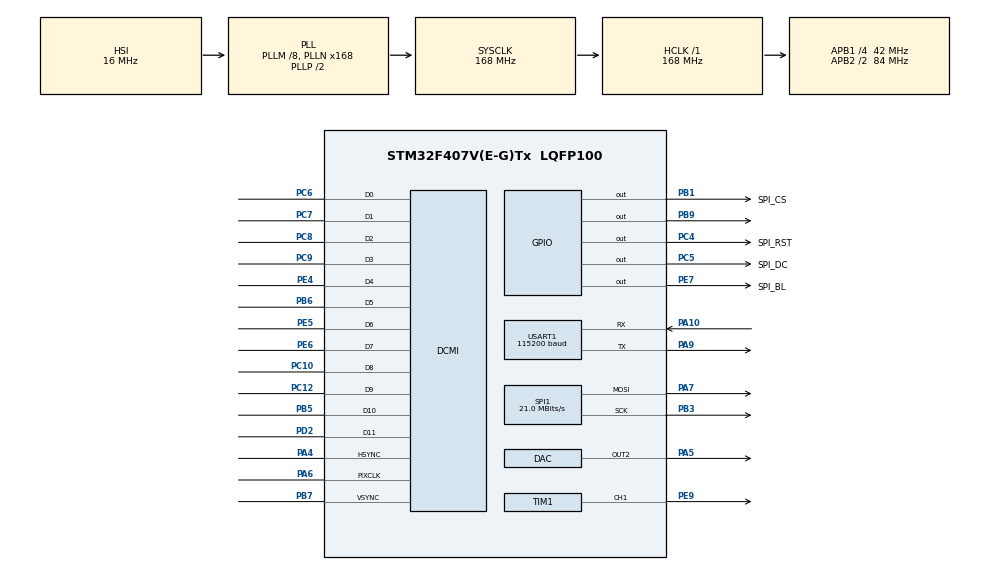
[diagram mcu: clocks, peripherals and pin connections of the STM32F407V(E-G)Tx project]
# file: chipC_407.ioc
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DCMI.HSPolarity=DCMI_HSPOLARITY_HIGH
Dma.DCMI.0.Direction=DMA_PERIPH_TO_MEMORY
Dma.DCMI.0.FIFOMode=DMA_FIFOMODE_ENABLE
Dma.DCMI.0.FIFOThreshold=DMA_FIFO_THRESHOLD_FULL
Dma.DCMI.0.Instance=DMA2_Stream1
Dma.DCMI.0.MemBurst=DMA_MBURST_SINGLE
Dma.DCMI.0.MemDataAlignment=DMA_MDATAALIGN_WORD
Dma.DCMI.0.MemInc=DMA_MINC_ENABLE
Dma.DCMI.0.Mode=DMA_NORMAL
Dma.DCMI.0.PeriphBurst=DMA_PBURST_SINGLE
Dma.DCMI.0.PeriphDataAlignment=DMA_PDATAALIGN_WORD
Dma.DCMI.0.PeriphInc=DMA_PINC_DISABLE
Dma.DCMI.0.Priority=DMA_PRIORITY_VERY_HIGH
Dma.Request0=DCMI
Mcu.Family=STM32F4
Mcu.Name=STM32F407V(E-G)Tx
Mcu.Package=LQFP100
NVIC.DCMI_IRQn=true\:0\:0\:false\:false\:true\:true\:true\:true
NVIC.DMA2_Stream1_IRQn=true\:0\:0\:false\:false\:true\:false\:true\:true
NVIC.PriorityGroup=NVIC_PRIORITYGROUP_4
NVIC.SPI1_IRQn=true\:0\:0\:false\:false\:true\:true\:true\:true
NVIC.USART1_IRQn=true\:0\:0\:false\:false\:true\:true\:true\:true
PA10.Mode=Asynchronous
PA10.Signal=USART1_RX
PA4.Mode=Slave_12_bits_External_Synchro
PA4.Signal=DCMI_HSYNC
PA5.Signal=COMP_DAC2_group
PA6.GPIO_Speed=GPIO_SPEED_FREQ_VERY_HIGH
PA6.Mode=Slave_12_bits_External_Synchro
PA6.Signal=DCMI_PIXCLK
PA7.Mode=TX_Only_Simplex_Unidirect_Master
PA7.Signal=SPI1_MOSI
PA9.Mode=Asynchronous
PA9.Signal=USART1_TX
PB1.GPIO_Label=SPI_CS
PB1.GPIO_PuPd=GPIO_PULLUP
PB1.GPIO_Speed=GPIO_SPEED_FREQ_VERY_HIGH
PB1.PinState=GPIO_PIN_SET
PB1.Signal=GPIO_Output
PB3.Mode=TX_Only_Simplex_Unidirect_Master
PB3.Signal=SPI1_SCK
PB5.GPIO_Speed=GPIO_SPEED_FREQ_VERY_HIGH
PB5.Mode=Slave_12_bits_External_Synchro
PB5.Signal=DCMI_D10
PB6.GPIO_Speed=GPIO_SPEED_FREQ_VERY_HIGH
PB6.Mode=Slave_12_bits_External_Synchro
PB6.Signal=DCMI_D5
PB7.GPIO_Speed=GPIO_SPEED_FREQ_LOW
PB7.Mode=Slave_12_bits_External_Synchro
PB7.Signal=DCMI_VSYNC
PB9.Signal=GPIO_Output
PC10.GPIO_Speed=GPIO_SPEED_FREQ_VERY_HIGH
PC10.Mode=Slave_12_bits_External_Synchro
PC10.Signal=DCMI_D8
PC12.GPIO_Speed=GPIO_SPEED_FREQ_VERY_HIGH
PC12.Mode=Slave_12_bits_External_Synchro
PC12.Signal=DCMI_D9
PC4.GPIO_Label=SPI_RST
PC4.GPIO_Speed=GPIO_SPEED_FREQ_VERY_HIGH
PC4.Signal=GPIO_Output
PC5.GPIO_Label=SPI_DC
PC5.GPIO_Speed=GPIO_SPEED_FREQ_VERY_HIGH
PC5.PinState=GPIO_PIN_SET
PC5.Signal=GPIO_Output
PC6.GPIO_Speed=GPIO_SPEED_FREQ_VERY_HIGH
PC6.Mode=Slave_12_bits_External_Synchro
PC6.Signal=DCMI_D0
PC7.GPIO_Speed=GPIO_SPEED_FREQ_VERY_HIGH
PC7.Mode=Slave_12_bits_External_Synchro
PC7.Signal=DCMI_D1
PC8.GPIO_Speed=GPIO_SPEED_FREQ_VERY_HIGH
PC8.Mode=Slave_12_bits_External_Synchro
PC8.Signal=DCMI_D2
PC9.GPIO_Speed=GPIO_SPEED_FREQ_VERY_HIGH
PC9.Mode=Slave_12_bits_External_Synchro
PC9.Signal=DCMI_D3
PD2.GPIO_Speed=GPIO_SPEED_FREQ_VERY_HIGH
PD2.Mode=Slave_12_bits_External_Synchro
PD2.Signal=DCMI_D11
PE4.GPIO_Speed=GPIO_SPEED_FREQ_VERY_HIGH
PE4.Mode=Slave_12_bits_External_Synchro
PE4.Signal=DCMI_D4
PE5.GPIO_Speed=GPIO_SPEED_FREQ_VERY_HIGH
PE5.Mode=Slave_12_bits_External_Synchro
PE5.Signal=DCMI_D6
PE6.GPIO_Speed=GPIO_SPEED_FREQ_VERY_HIGH
PE6.Mode=Slave_12_bits_External_Synchro
PE6.Signal=DCMI_D7
PE7.GPIO_Label=SPI_BL
PE7.PinState=GPIO_PIN_SET
PE7.Signal=GPIO_Output
PE9.GPIO_Speed=GPIO_SPEED_FREQ_VERY_HIGH
PE9.Signal=S_TIM1_CH1
PH0-OSC_IN.Mode=HSE-External-Oscillator
PH0-OSC_IN.Signal=RCC_OSC_IN
PH1-OSC_OUT.Mode=HSE-External-Oscillator
PH1-OSC_OUT.Signal=RCC_OSC_OUT
ProjectManager.HeapSize=0x200
ProjectManager.StackSize=0x400
ProjectManager.TargetToolchain=CMake
RCC.48MHZClocksFreq_Value=84000000
RCC.AHBFreq_Value=168000000
RCC.APB1CLKDivider=RCC_HCLK_DIV4
RCC.APB1Freq_Value=42000000
RCC.APB1TimFreq_Value=84000000
RCC.APB2CLKDivider=RCC_HCLK_DIV2
RCC.APB2Freq_Value=84000000
RCC.APB2TimFreq_Value=168000000
RCC.CortexFreq_Value=168000000
RCC.HCLKFreq_Value=168000000
RCC.HSE_VALUE=25000000
RCC.HSI_VALUE=16000000
RCC.LSE_VALUE=32768
RCC.PLLM=8
RCC.PLLN=168
RCC.SYSCLKFreq_VALUE=168000000
RCC.SYSCLKSource=RCC_SYSCLKSOURCE_PLLCLK
RCC.VCOOutputFreq_Value=336000000
SH.COMP_DAC2_group.0=DAC_OUT2,DAC_OUT2
SH.S_TIM1_CH1.0=TIM1_CH1,PWM Generation1 CH1
SPI1.BaudRatePrescaler=SPI_BAUDRATEPRESCALER_4
SPI1.CalculateBaudRate=21.0 MBits/s
SPI1.Direction=SPI_DIRECTION_2LINES
SPI1.Mode=SPI_MODE_MASTER
SPI1.VirtualType=VM_MASTER
TIM1.Channel-PWM\ Generation1\ CH1=TIM_CHANNEL_1
TIM1.Period=79
TIM1.Pulse-PWM\ Generation1\ CH1=4
TIM1.TIM_MasterOutputTrigger=TIM_TRGO_UPDATE
USART1.BaudRate=115200
USART1.VirtualMode=VM_ASYNC
VP_TIM1_VS_ClockSourceINT.Mode=Internal
board=custom

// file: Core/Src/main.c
/* USER CODE BEGIN Header */
/**
  ******************************************************************************
  * @file           : main.c
  * @brief          : Main program body
  ******************************************************************************
  */
/* USER CODE END Header */
#include "main.h"

/* USER CODE BEGIN Includes */
#include "driver_st7789.h"
#include <stdint.h>
#include <stdio.h>
#include "UI.h"
#include "ble_ssp.h"
#include "fft_math.h"
/* USER CODE END Includes */

/* USER CODE BEGIN PTD */
typedef enum {
  Coarse_Init = 0,
  Coarse_Wait,
  Fine_Init,
  Fine_Wait,
  Process
} State;
/* USER CODE END PTD */

DAC_HandleTypeDef hdac;

DCMI_HandleTypeDef hdcmi;
DMA_HandleTypeDef hdma_dcmi;

SPI_HandleTypeDef hspi1;

TIM_HandleTypeDef htim1;

UART_HandleTypeDef huart1;

/* USER CODE BEGIN PV */
static uint8_t g_last_wave[320] = {0};
static uint8_t g_curr_wave[320] = {0};
__attribute__((aligned(4))) uint16_t adc_buf[1024];
uint8_t dma_full_flag = 0;
__attribute__((aligned(4))) uint16_t raw_adc_buf[8192];
static uint8_t g_decim_factor = 1;
volatile uint8_t rx_data = '0';
State current_state = Coarse_Init;
static float g_active_fs = FS_COARSE;

extern volatile PAGE current_page;
extern volatile PAGE next_page_req;
extern volatile uint8_t page_change_flag;
extern volatile uint8_t wave_div_change_flag;
extern volatile uint16_t g_v_scale;
extern volatile MeasureParams_t current_params;
extern volatile uint8_t s_current_tb_idx;
/* USER CODE END PV */

void SystemClock_Config(void);
static void MX_GPIO_Init(void);
static void MX_DMA_Init(void);
static void MX_SPI1_Init(void);
static void MX_TIM1_Init(void);
static void MX_USART1_UART_Init(void);
static void MX_DCMI_Init(void);
static void MX_DAC_Init(void);

/* USER CODE BEGIN 0 */

static void DCMI_ForceReset(void)
{
    __HAL_DCMI_DISABLE(&hdcmi);
    hdcmi.Instance->CR &= ~DCMI_CR_CAPTURE;
    HAL_DMA_Abort(&hdma_dcmi);
    hdcmi.State = HAL_DCMI_STATE_READY;
    hdcmi.ErrorCode = HAL_DCMI_ERROR_NONE;
    __HAL_DCMI_CLEAR_FLAG(&hdcmi, DCMI_FLAG_OVFRI | DCMI_FLAG_ERRRI | DCMI_FLAG_FRAMERI);
    HAL_GPIO_WritePin(GPIOB, GPIO_PIN_9, GPIO_PIN_SET);
}

/**
 * @brief 动态修改 TIM1 输出采样率 (TIM1 时钟为 168MHz)，返回实际采样率
 */
static float TIM1_SetSampleRate(float target_fs)
{
    if (target_fs > 21000000.0f) target_fs = 21000000.0f; // 上限 21MHz (ARR=7)
    if (target_fs < 20000.0f)    target_fs = 20000.0f;    // 下限 20kHz

    uint32_t total_div = (uint32_t)(168000000.0f / target_fs + 0.5f);
    if (total_div < 8) total_div = 8;

    uint32_t psc = (total_div - 1) / 65536;
    uint32_t arr = (total_div / (psc + 1)) - 1;
    if (arr < 1) arr = 1;

    __HAL_TIM_SET_PRESCALER(&htim1, psc);
    __HAL_TIM_SET_AUTORELOAD(&htim1, arr);
    __HAL_TIM_SET_COMPARE(&htim1, TIM_CHANNEL_1, (arr + 1) >> 1);
    htim1.Instance->EGR = TIM_EGR_UG; // 立即更新分频与重装载寄存器

    return 168000000.0f / ((float)(psc + 1) * (float)(arr + 1));
}

static void delay_us_systick(uint32_t us)
{
    uint32_t ticks = us * (SystemCoreClock / 1000000U);
    uint32_t told = SysTick->VAL;
    uint32_t tnow, tcnt = 0;
    uint32_t reload = SysTick->LOAD + 1U;
    while (tcnt < ticks) {
        tnow = SysTick->VAL;
        if (tnow != told) {
            tcnt += (tnow < told) ? (told - tnow) : (reload - tnow + told);
            told = tnow;
        }
    }
}

static void DCMI_StartCapture(uint16_t word_len)
{
    HAL_GPIO_WritePin(GPIOB, GPIO_PIN_9, GPIO_PIN_SET);
    HAL_DCMI_Start_DMA(&hdcmi, DCMI_MODE_SNAPSHOT, (uint32_t)raw_adc_buf, word_len);

    HAL_GPIO_WritePin(GPIOB, GPIO_PIN_9, GPIO_PIN_RESET);
    delay_us_systick(15);
    HAL_GPIO_WritePin(GPIOB, GPIO_PIN_9, GPIO_PIN_SET);
}
/* USER CODE END 0 */

int main(void)
{

  /* MCU Configuration--------------------------------------------------------*/

  /* Reset of all peripherals, Initializes the Flash interface and the Systick. */
  HAL_Init();

  /* Configure the system clock */
  SystemClock_Config();

  /* Initialize all configured peripherals */
  MX_GPIO_Init();
  MX_DMA_Init();
  MX_SPI1_Init();
  MX_TIM1_Init();
  MX_USART1_UART_Init();
  MX_DCMI_Init();
  MX_DAC_Init();
  /* USER CODE BEGIN 2 */
  st7789_init();
  page_console();

  console_print("TEST#1");
  st7789_display_on();
  HAL_UART_Receive_IT(&huart1, (uint8_t *)&rx_data, 1);
  HAL_TIM_PWM_Start(&htim1, TIM_CHANNEL_1);
  /* USER CODE END 2 */

  /* Infinite loop */
  /* USER CODE BEGIN WHILE */
  static uint32_t last_frame_tick = 0;
  static uint32_t last_ble_tick = 0;
  static uint32_t wait_start_tick = 0;
  while (1) {
    /* 1. 页面切换处理 */
    if (page_change_flag) {
      page_change_flag = 0;

      // 直接关闭 DCMI 并强制中止 DMA，避免 HAL_DCMI_Stop 1000ms 超时锁死 DMA
      __HAL_DCMI_DISABLE(&hdcmi);
      hdcmi.Instance->CR &= ~DCMI_CR_CAPTURE;
      HAL_DMA_Abort(&hdma_dcmi);
      hdcmi.State = HAL_DCMI_STATE_READY;
      __HAL_DCMI_CLEAR_FLAG(&hdcmi, DCMI_FLAG_OVFRI | DCMI_FLAG_ERRRI | DCMI_FLAG_FRAMERI);

      current_state = Coarse_Init;
      memset(g_last_wave, 0, sizeof(g_last_wave));

      switch (next_page_req) {
        case PAGE_CONSOLE: page_console(); break;
        case PAGE_WAVE:    page_wave();    break;
        case PAGE_PARAM:   page_param();   break;
      }
  }

    if (wave_div_change_flag && current_page == PAGE_WAVE) {
      char strtemp[4] = {'\0'};
      snprintf(strtemp, sizeof(strtemp), "%dX", g_v_scale);
      st7789_fill_rect(280, 1, 319, 23, ST7789_COLOR_BLACK);
      st7789_write_string(280, 1, strtemp, ST7789_COLOR_RED, ST7789_FONT_24);
      ui_update_topbar_volt_div();
      wave_div_change_flag = 0;
    }

    /* 2. 粗测 -> 精测状态机调度 */
    switch (current_state) {
      case Coarse_Init:
      if (HAL_GetTick() - last_frame_tick >= 33) {
        last_frame_tick = HAL_GetTick();
        g_decim_factor = 1;
        g_active_fs = TIM1_SetSampleRate(1000000.0f);
        DCMI_StartCapture(512); // 1024 点
        wait_start_tick = HAL_GetTick();
        current_state = Coarse_Wait;
      }
      break;

      case Coarse_Wait:
        if (HAL_DCMI_GetState(&hdcmi) == HAL_DCMI_STATE_READY) {
          memcpy(adc_buf, raw_adc_buf, 1024 * sizeof(uint16_t));
          measure_signal(adc_buf, 1024, g_active_fs);
          current_state = Fine_Init;
        } else if (HAL_DCMI_GetState(&hdcmi) == HAL_DCMI_STATE_ERROR ||
                  (HAL_GetTick() - wait_start_tick > 100)) {
          DCMI_ForceReset();
          current_state = Coarse_Init;
        }
        break;

        case Fine_Init:
        {
          if (current_params.freq >= 5500.0f) {
            // 高频：1x 直采，硬件时钟 >= 1 MHz
            float target_fs = current_params.freq * 128.0f;
            if (target_fs < 1000000.0f) target_fs = 1000000.0f;
            g_decim_factor = 1;
            g_active_fs = TIM1_SetSampleRate(target_fs);
            DCMI_StartCapture(512);
          } else if (s_current_tb_idx >= 10) {
            // 2ms 大时基：硬件 1 MHz 采 8192 点，8x 抽取等效 125 kHz（窗口 8.19ms）
            float hw_fs = TIM1_SetSampleRate(1000000.0f);
            g_decim_factor = 8;
            g_active_fs = hw_fs / 8.0f;
            DCMI_StartCapture(4096);
          } else {
            // 常规低频：硬件 1 MHz 采 4096 点，4x 抽取等效 250 kHz（窗口 4.10ms）
            float hw_fs = TIM1_SetSampleRate(1000000.0f);
            g_decim_factor = 4;
            g_active_fs = hw_fs / 4.0f;
            DCMI_StartCapture(2048);
          }
          wait_start_tick = HAL_GetTick();
          current_state = Fine_Wait;
        }
        break;
      case Fine_Wait:
        if (HAL_DCMI_GetState(&hdcmi) == HAL_DCMI_STATE_READY) {
          if (g_decim_factor > 1) {
            uint8_t shift = (g_decim_factor == 8) ? 3 : 2;
            for (uint16_t i = 0; i < 1024; i++) {
              uint32_t sum = 0;
              uint32_t base = i * g_decim_factor;
              for (uint8_t k = 0; k < g_decim_factor; k++) {
                sum += raw_adc_buf[base + k];
              }
              adc_buf[i] = (uint16_t)(sum >> shift);
            }
          } else {
            memcpy(adc_buf, raw_adc_buf, 1024 * sizeof(uint16_t));
          }
          current_state = Process;
        } else if (HAL_DCMI_GetState(&hdcmi) == HAL_DCMI_STATE_ERROR ||
                  (HAL_GetTick() - wait_start_tick > 100)) {
          DCMI_ForceReset();
          current_state = Coarse_Init;
        }
        break;
        case Process:
        // 1. 精测信号参数计算
        measure_signal(adc_buf, 1024, g_active_fs);
        if (g_active_fs > FS_LOW_FINE && current_params.freq < 10.0f) {
          current_state = Coarse_Init;
          break;
        }

        // 2. 周期性向上位机回传数据 (每 200ms 发送一帧)
        if (HAL_GetTick() - last_ble_tick >= 200) {
          last_ble_tick = HAL_GetTick();
          BLE_SendParams(&huart1, &current_params);
        }

        // 3. 波形页与参数页动态渲染
        if ((current_page == PAGE_WAVE || current_page == PAGE_PARAM) && !page_change_flag) {
            float sample_step = 1.0f;
            uint8_t tb_idx = ui_calc_auto_timebase(current_params.freq, g_active_fs, &sample_step);

            // 统计极值并执行施密特触发同步
            uint16_t v_min = 4095, v_max = 0;
            for (uint16_t i = 0; i < 1024; i++) {
                if (adc_buf[i] < v_min) v_min = adc_buf[i];
                if (adc_buf[i] > v_max) v_max = adc_buf[i];
            }
            uint16_t v_pp = v_max - v_min;
            uint16_t trig_start = 260; // 预留 260 点预触发历史供右移查看
            uint16_t trig_idx = trig_start;

            uint16_t period_pts = (current_params.freq > 10.0f) ? (uint16_t)(g_active_fs / current_params.freq) : 125;
            uint16_t search_limit = (uint16_t)(period_pts * 1.3f) + 10;
            if (search_limit > 400) search_limit = 400;
            uint16_t search_end = trig_start + search_limit;
            if (search_end > 1024) search_end = 1024;

            #define NOISE_GATE 40
            if (v_pp > NOISE_GATE) {
                uint16_t v_mid  = (v_min + v_max) >> 1;
                uint16_t hys    = v_pp >> 4;
                uint16_t v_low  = v_mid - hys;
                uint16_t v_high = v_mid + hys;

                uint8_t armed = 0;
                for (uint16_t i = trig_start; i < search_end; i++) {
                    if (!armed) {
                        if (adc_buf[i] < v_low) armed = 1;
                    } else {
                        if (adc_buf[i] >= v_high) {
                            trig_idx = i;
                            break;
                        }
                    }
                }
            }

            if (current_page == PAGE_WAVE) {
                ui_update_topbar_timebase(tb_idx, 0);
                for (int i = 0; i < 320; i++) {
                    int32_t sample_pos = (int32_t)trig_idx + (int32_t)((i + g_x_offset) * sample_step);
                    if (sample_pos < 0 || sample_pos > 1023) {
                        g_curr_wave[i] = 0; // 超出采样存储区留空，避免重复画 adc_buf[0]
                    } else {
                        g_curr_wave[i] = wave_adc_to_screen_y(adc_buf[sample_pos]);
                    }
                }
                screen_draw_frame(g_last_wave, g_curr_wave, 320);
            }
        }

        current_state = Coarse_Init;
        break;
    }
  }
    /* USER CODE END WHILE */

}

void SystemClock_Config(void)
{
  RCC_OscInitTypeDef RCC_OscInitStruct = {0};
  RCC_ClkInitTypeDef RCC_ClkInitStruct = {0};

  /** Configure the main internal regulator output voltage
  */
  __HAL_RCC_PWR_CLK_ENABLE();
  __HAL_PWR_VOLTAGESCALING_CONFIG(PWR_REGULATOR_VOLTAGE_SCALE1);

  /** Initializes the RCC Oscillators according to the specified parameters
  * in the RCC_OscInitTypeDef structure.
  */
  RCC_OscInitStruct.OscillatorType = RCC_OSCILLATORTYPE_HSI;
  RCC_OscInitStruct.HSIState = RCC_HSI_ON;
  RCC_OscInitStruct.HSICalibrationValue = RCC_HSICALIBRATION_DEFAULT;
  RCC_OscInitStruct.PLL.PLLState = RCC_PLL_ON;
  RCC_OscInitStruct.PLL.PLLSource = RCC_PLLSOURCE_HSI;
  RCC_OscInitStruct.PLL.PLLM = 8;
  RCC_OscInitStruct.PLL.PLLN = 168;
  RCC_OscInitStruct.PLL.PLLP = RCC_PLLP_DIV2;
  RCC_OscInitStruct.PLL.PLLQ = 4;
  if (HAL_RCC_OscConfig(&RCC_OscInitStruct) != HAL_OK)
  {
    Error_Handler();
  }

  /** Initializes the CPU, AHB and APB buses clocks
  */
  RCC_ClkInitStruct.ClockType = RCC_CLOCKTYPE_HCLK|RCC_CLOCKTYPE_SYSCLK
                              |RCC_CLOCKTYPE_PCLK1|RCC_CLOCKTYPE_PCLK2;
  RCC_ClkInitStruct.SYSCLKSource = RCC_SYSCLKSOURCE_PLLCLK;
  RCC_ClkInitStruct.AHBCLKDivider = RCC_SYSCLK_DIV1;
  RCC_ClkInitStruct.APB1CLKDivider = RCC_HCLK_DIV4;
  RCC_ClkInitStruct.APB2CLKDivider = RCC_HCLK_DIV2;

  if (HAL_RCC_ClockConfig(&RCC_ClkInitStruct, FLASH_LATENCY_5) != HAL_OK)
  {
    Error_Handler();
  }
}

static void MX_DAC_Init(void)
{

  DAC_ChannelConfTypeDef sConfig = {0};

  /** DAC Initialization
  */
  hdac.Instance = DAC;
  if (HAL_DAC_Init(&hdac) != HAL_OK)
  {
    Error_Handler();
  }

  /** DAC channel OUT2 config
  */
  sConfig.DAC_Trigger = DAC_TRIGGER_NONE;
  sConfig.DAC_OutputBuffer = DAC_OUTPUTBUFFER_ENABLE;
  if (HAL_DAC_ConfigChannel(&hdac, &sConfig, DAC_CHANNEL_2) != HAL_OK)
  {
    Error_Handler();
  }

}

static void MX_DCMI_Init(void)
{

  hdcmi.Instance = DCMI;
  hdcmi.Init.SynchroMode = DCMI_SYNCHRO_HARDWARE;
  hdcmi.Init.PCKPolarity = DCMI_PCKPOLARITY_FALLING;
  hdcmi.Init.VSPolarity = DCMI_VSPOLARITY_LOW;
  hdcmi.Init.HSPolarity = DCMI_HSPOLARITY_HIGH;
  hdcmi.Init.CaptureRate = DCMI_CR_ALL_FRAME;
  hdcmi.Init.ExtendedDataMode = DCMI_EXTEND_DATA_12B;
  hdcmi.Init.JPEGMode = DCMI_JPEG_DISABLE;
  if (HAL_DCMI_Init(&hdcmi) != HAL_OK)
  {
    Error_Handler();
  }

}

static void MX_SPI1_Init(void)
{

  /* SPI1 parameter configuration*/
  hspi1.Instance = SPI1;
  hspi1.Init.Mode = SPI_MODE_MASTER;
  hspi1.Init.Direction = SPI_DIRECTION_2LINES;
  hspi1.Init.DataSize = SPI_DATASIZE_8BIT;
  hspi1.Init.CLKPolarity = SPI_POLARITY_LOW;
  hspi1.Init.CLKPhase = SPI_PHASE_1EDGE;
  hspi1.Init.NSS = SPI_NSS_SOFT;
  hspi1.Init.BaudRatePrescaler = SPI_BAUDRATEPRESCALER_4;
  hspi1.Init.FirstBit = SPI_FIRSTBIT_MSB;
  hspi1.Init.TIMode = SPI_TIMODE_DISABLE;
  hspi1.Init.CRCCalculation = SPI_CRCCALCULATION_DISABLE;
  hspi1.Init.CRCPolynomial = 10;
  if (HAL_SPI_Init(&hspi1) != HAL_OK)
  {
    Error_Handler();
  }

}

static void MX_TIM1_Init(void)
{

  TIM_ClockConfigTypeDef sClockSourceConfig = {0};
  TIM_MasterConfigTypeDef sMasterConfig = {0};
  TIM_OC_InitTypeDef sConfigOC = {0};
  TIM_BreakDeadTimeConfigTypeDef sBreakDeadTimeConfig = {0};

  htim1.Instance = TIM1;
  htim1.Init.Prescaler = 0;
  htim1.Init.CounterMode = TIM_COUNTERMODE_UP;
  htim1.Init.Period = 79;
  htim1.Init.ClockDivision = TIM_CLOCKDIVISION_DIV1;
  htim1.Init.RepetitionCounter = 0;
  htim1.Init.AutoReloadPreload = TIM_AUTORELOAD_PRELOAD_DISABLE;
  if (HAL_TIM_Base_Init(&htim1) != HAL_OK)
  {
    Error_Handler();
  }
  sClockSourceConfig.ClockSource = TIM_CLOCKSOURCE_INTERNAL;
  if (HAL_TIM_ConfigClockSource(&htim1, &sClockSourceConfig) != HAL_OK)
  {
    Error_Handler();
  }
  if (HAL_TIM_PWM_Init(&htim1) != HAL_OK)
  {
    Error_Handler();
  }
  sMasterConfig.MasterOutputTrigger = TIM_TRGO_UPDATE;
  sMasterConfig.MasterSlaveMode = TIM_MASTERSLAVEMODE_DISABLE;
  if (HAL_TIMEx_MasterConfigSynchronization(&htim1, &sMasterConfig) != HAL_OK)
  {
    Error_Handler();
  }
  sConfigOC.OCMode = TIM_OCMODE_PWM1;
  sConfigOC.Pulse = 4;
  sConfigOC.OCPolarity = TIM_OCPOLARITY_HIGH;
  sConfigOC.OCNPolarity = TIM_OCNPOLARITY_HIGH;
  sConfigOC.OCFastMode = TIM_OCFAST_DISABLE;
  sConfigOC.OCIdleState = TIM_OCIDLESTATE_RESET;
  sConfigOC.OCNIdleState = TIM_OCNIDLESTATE_RESET;
  if (HAL_TIM_PWM_ConfigChannel(&htim1, &sConfigOC, TIM_CHANNEL_1) != HAL_OK)
  {
    Error_Handler();
  }
  sBreakDeadTimeConfig.OffStateRunMode = TIM_OSSR_DISABLE;
  sBreakDeadTimeConfig.OffStateIDLEMode = TIM_OSSI_DISABLE;
  sBreakDeadTimeConfig.LockLevel = TIM_LOCKLEVEL_OFF;
  sBreakDeadTimeConfig.DeadTime = 0;
  sBreakDeadTimeConfig.BreakState = TIM_BREAK_DISABLE;
  sBreakDeadTimeConfig.BreakPolarity = TIM_BREAKPOLARITY_HIGH;
  sBreakDeadTimeConfig.AutomaticOutput = TIM_AUTOMATICOUTPUT_DISABLE;
  if (HAL_TIMEx_ConfigBreakDeadTime(&htim1, &sBreakDeadTimeConfig) != HAL_OK)
  {
    Error_Handler();
  }
  HAL_TIM_MspPostInit(&htim1);

}

static void MX_USART1_UART_Init(void)
{

  huart1.Instance = USART1;
  huart1.Init.BaudRate = 115200;
  huart1.Init.WordLength = UART_WORDLENGTH_8B;
  huart1.Init.StopBits = UART_STOPBITS_1;
  huart1.Init.Parity = UART_PARITY_NONE;
  huart1.Init.Mode = UART_MODE_TX_RX;
  huart1.Init.HwFlowCtl = UART_HWCONTROL_NONE;
  huart1.Init.OverSampling = UART_OVERSAMPLING_16;
  if (HAL_UART_Init(&huart1) != HAL_OK)
  {
    Error_Handler();
  }

}

static void MX_DMA_Init(void)
{

  /* DMA controller clock enable */
  __HAL_RCC_DMA2_CLK_ENABLE();

  /* DMA interrupt init */
  /* DMA2_Stream1_IRQn interrupt configuration */
  HAL_NVIC_SetPriority(DMA2_Stream1_IRQn, 0, 0);
  HAL_NVIC_EnableIRQ(DMA2_Stream1_IRQn);

}

static void MX_GPIO_Init(void)
{
  GPIO_InitTypeDef GPIO_InitStruct = {0};

  /* GPIO Ports Clock Enable */
  __HAL_RCC_GPIOE_CLK_ENABLE();
  __HAL_RCC_GPIOH_CLK_ENABLE();
  __HAL_RCC_GPIOA_CLK_ENABLE();
  __HAL_RCC_GPIOC_CLK_ENABLE();
  __HAL_RCC_GPIOB_CLK_ENABLE();
  __HAL_RCC_GPIOD_CLK_ENABLE();

  /*Configure GPIO pin Output Level */
  HAL_GPIO_WritePin(SPI_RST_GPIO_Port, SPI_RST_Pin, GPIO_PIN_RESET);

  /*Configure GPIO pin Output Level */
  HAL_GPIO_WritePin(SPI_DC_GPIO_Port, SPI_DC_Pin, GPIO_PIN_SET);

  /*Configure GPIO pin Output Level */
  HAL_GPIO_WritePin(SPI_CS_GPIO_Port, SPI_CS_Pin, GPIO_PIN_SET);

  /*Configure GPIO pin Output Level */
  HAL_GPIO_WritePin(SPI_BL_GPIO_Port, SPI_BL_Pin, GPIO_PIN_SET);

  /*Configure GPIO pin Output Level */
  HAL_GPIO_WritePin(GPIOB, GPIO_PIN_9, GPIO_PIN_RESET);

  /*Configure GPIO pins : SPI_RST_Pin SPI_DC_Pin */
  GPIO_InitStruct.Pin = SPI_RST_Pin|SPI_DC_Pin;
  GPIO_InitStruct.Mode = GPIO_MODE_OUTPUT_PP;
  GPIO_InitStruct.Pull = GPIO_NOPULL;
  GPIO_InitStruct.Speed = GPIO_SPEED_FREQ_VERY_HIGH;
  HAL_GPIO_Init(GPIOC, &GPIO_InitStruct);

  /*Configure GPIO pin : SPI_CS_Pin */
  GPIO_InitStruct.Pin = SPI_CS_Pin;
  GPIO_InitStruct.Mode = GPIO_MODE_OUTPUT_PP;
  GPIO_InitStruct.Pull = GPIO_PULLUP;
  GPIO_InitStruct.Speed = GPIO_SPEED_FREQ_VERY_HIGH;
  HAL_GPIO_Init(SPI_CS_GPIO_Port, &GPIO_InitStruct);

  /*Configure GPIO pin : SPI_BL_Pin */
  GPIO_InitStruct.Pin = SPI_BL_Pin;
  GPIO_InitStruct.Mode = GPIO_MODE_OUTPUT_PP;
  GPIO_InitStruct.Pull = GPIO_NOPULL;
  GPIO_InitStruct.Speed = GPIO_SPEED_FREQ_LOW;
  HAL_GPIO_Init(SPI_BL_GPIO_Port, &GPIO_InitStruct);

  /*Configure GPIO pin : PB9 */
  GPIO_InitStruct.Pin = GPIO_PIN_9;
  GPIO_InitStruct.Mode = GPIO_MODE_OUTPUT_PP;
  GPIO_InitStruct.Pull = GPIO_NOPULL;
  GPIO_InitStruct.Speed = GPIO_SPEED_FREQ_LOW;
  HAL_GPIO_Init(GPIOB, &GPIO_InitStruct);

}

/* USER CODE BEGIN 4 */

void HAL_DCMI_FrameEventCallback(DCMI_HandleTypeDef *hdcmi) {
  dma_full_flag = 1;
}
/* USER CODE END 4 */

void Error_Handler(void)
{
  __disable_irq();
  while (1)
  {
  }
}
